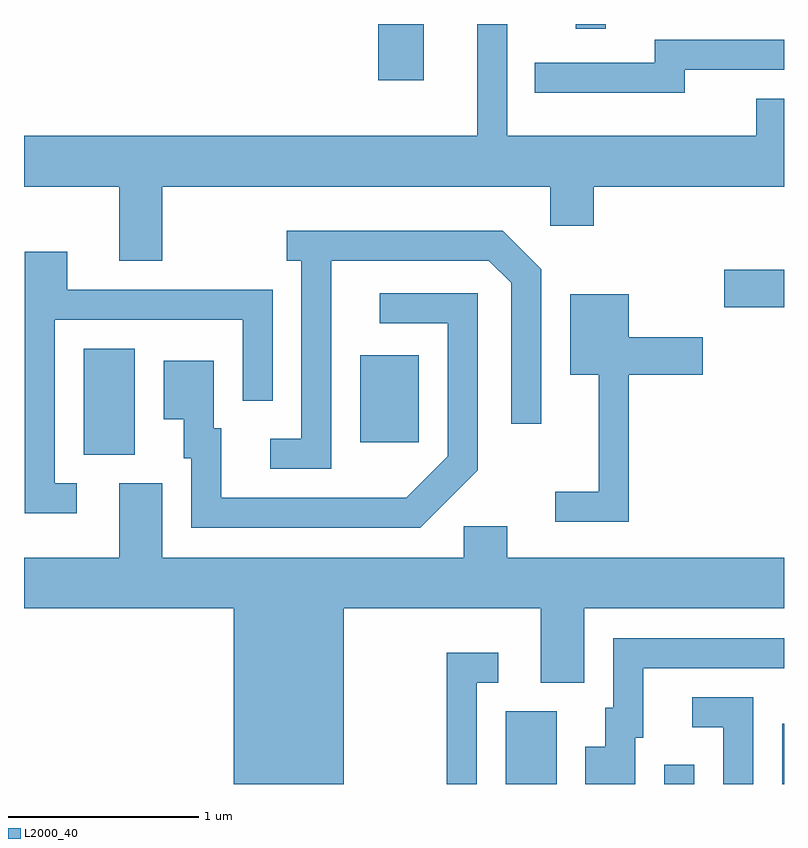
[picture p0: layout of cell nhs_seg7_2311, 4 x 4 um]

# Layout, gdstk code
import gdstk
lib = gdstk.Library(unit=1e-6, precision=1e-09)
def R(c, l, rs):  # rectangles x0, y0, x1, y1
    for r in rs: c.add(gdstk.rectangle(r[:2], r[2:], *l))
def P(c, l, *ps):  # polygons
    for p in ps: c.add(gdstk.Polygon(p, *l))
L2000_40 = (2000, 40)

nhs_seg7_2311 = lib.new_cell('nhs_seg7_2311')
R(nhs_seg7_2311, L2000_40, [(258.146,1742.252,258.414,1742.634), (258.981,1742.252,259.139,1742.353), (259.601,1742.252,259.611,1742.569), (255.926,1743.986,256.194,1744.544), (257.381,1744.051,257.689,1744.509), (259.296,1744.761,259.611,1744.959), (257.476,1745.956,257.714,1746.252), (258.516,1746.228,258.674,1746.252)])
P(nhs_seg7_2311, L2000_40, [(256.339,1745.396),(258.381,1745.396),(258.381,1745.191),(258.609,1745.191),(258.609,1745.396),(259.611,1745.396),(259.611,1745.859),(259.466,1745.859),(259.466,1745.664),(258.154,1745.664),(258.154,1746.252),(257.996,1746.252),(257.996,1745.664),(255.611,1745.664),(255.611,1745.396),(256.111,1745.396),(256.111,1745.006),(256.339,1745.006)],
  [(259.089,1746.011),(259.611,1746.011),(259.611,1746.169),(258.931,1746.169),(258.931,1746.049),(258.298,1746.049),(258.298,1745.891),(259.089,1745.891)],
  [(257.229,1745.006),(258.058,1745.006),(258.176,1744.889),(258.176,1744.148),(258.334,1744.148),(258.334,1744.962),(258.132,1745.164),(256.993,1745.164),(256.993,1745.006),(257.071,1745.006),(257.071,1744.069),(256.908,1744.069),(256.908,1743.911),(257.229,1743.911)],
  [(255.888,1743.834),(255.774,1743.834),(255.774,1744.696),(256.761,1744.696),(256.761,1744.268),(256.919,1744.268),(256.919,1744.854),(255.839,1744.854),(255.839,1745.054),(255.616,1745.054),(255.616,1743.676),(255.888,1743.676)],
  [(257.999,1743.904),(257.999,1744.834),(257.483,1744.834),(257.483,1744.676),(257.841,1744.676),(257.841,1743.977),(257.623,1743.759),(256.649,1743.759),(256.649,1744.124),(256.609,1744.124),(256.609,1744.479),(256.346,1744.479),(256.346,1744.171),(256.451,1744.171),(256.451,1743.966),(256.491,1743.966),(256.491,1743.601),(257.697,1743.601)],
  [(258.794,1744.406),(259.184,1744.406),(259.184,1744.604),(258.794,1744.604),(258.794,1744.829),(258.486,1744.829),(258.486,1744.406),(258.636,1744.406),(258.636,1743.789),(258.408,1743.789),(258.408,1743.631),(258.794,1743.631)],
  [(257.294,1743.176),(258.331,1743.176),(258.331,1742.786),(258.559,1742.786),(258.559,1743.176),(259.611,1743.176),(259.611,1743.444),(258.154,1743.444),(258.154,1743.609),(257.926,1743.609),(257.926,1743.444),(256.339,1743.444),(256.339,1743.834),(256.111,1743.834),(256.111,1743.444),(255.611,1743.444),(255.611,1743.176),(256.716,1743.176),(256.716,1742.252),(257.294,1742.252)],
  [(258.829,1742.496),(258.869,1742.496),(258.869,1742.861),(259.611,1742.861),(259.611,1743.019),(258.711,1743.019),(258.711,1742.654),(258.671,1742.654),(258.671,1742.449),(258.566,1742.449),(258.566,1742.252),(258.829,1742.252)],
  [(257.994,1742.786),(258.108,1742.786),(258.108,1742.944),(257.836,1742.944),(257.836,1742.252),(257.994,1742.252)],
  [(259.449,1742.709),(259.128,1742.709),(259.128,1742.551),(259.291,1742.551),(259.291,1742.252),(259.449,1742.252)])

lib.write_gds('nhs_seg7_2311.gds')
